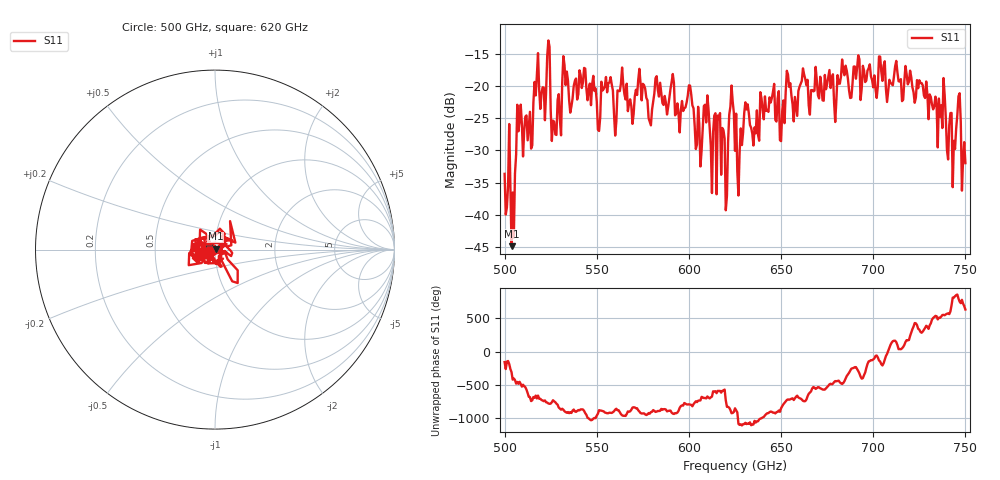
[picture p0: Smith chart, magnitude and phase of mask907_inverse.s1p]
!Created with skrf (http://scikit-rf.org).
# GHz S MA R 50.0
!freq magS11 angS11
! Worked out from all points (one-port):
!   401 points, 500 GHz to 750 GHz, reference 50 ohm
!   lowest |S11| = -44.9 dB at 503.8 GHz (marker M1), VSWR 1.01, Z = 50.3 + j0.468 ohm
!   |S11| at or under -10 dB: start of sweep to end of sweep
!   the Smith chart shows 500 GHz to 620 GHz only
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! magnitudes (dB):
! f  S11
! 500 GHz  -33.6
! 503.8 GHz  -44.9
! 505 GHz  -43.5
! 508.1 GHz  -25.5
! 513.8 GHz  -24.0
! 517.5 GHz  -18.4
! 523.8 GHz  -13.0
! 526.9 GHz  -25.6
! 531.2 GHz  -19.5
! 562.5 GHz  -20.8
! 579.4 GHz  -26.1
! 590.6 GHz  -19.4
! 593.8 GHz  -22.7
! 600.6 GHz  -20.0
! 605.6 GHz  -26.0
! 609.4 GHz  -25.7
! 620 GHz  -39.3
! 623.1 GHz  -19.9
! 625 GHz  -30.1
! 627.5 GHz  -30.3
! 631.2 GHz  -23.7
! 635 GHz  -29.2
! 656.2 GHz  -22.9
! 687.5 GHz  -21.9
! 718.8 GHz  -19.8
! 743.8 GHz  -28.5
! 746.2 GHz  -21.6
! 750 GHz  -32.0
